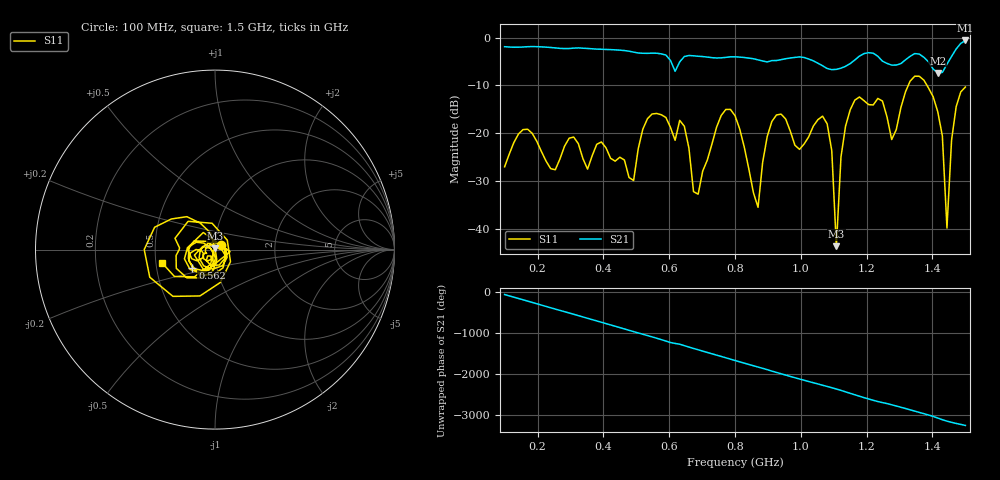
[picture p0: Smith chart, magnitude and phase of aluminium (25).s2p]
! NanoVNA-App
! Date: 2025-09-26 09:58:15
! Start: 100MHz Stop: 1,5GHz Points: 101
! S-Parameter data: F S11 S21 S12 S22
# Hz S RI R 50
!  Frequency  S11_Real  S11_Imag  S21_Real  S21_Imag  S12_Real  S12_Imag  S22_Real  S22_Imag
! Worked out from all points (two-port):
!   101 points, 100 MHz to 1.5 GHz, reference 50 ohm
!   highest |S21| = -0.61 dB at 1.5 GHz (marker M1); lowest = -7.4 dB at 1.416 GHz (marker M2)
!   |S21| within 3 dB of the highest: start of sweep to 587.5 MHz; 1.185 GHz to 1.227 GHz (42.31 MHz wide, 3.51 % of centre) (the widest 2 of 4)
!   lowest |S11| = -43.5 dB at 1.108 GHz (marker M3), VSWR 1.01, Z = 50.1 + j0.662 ohm
!   |S11| at or under -10 dB: start of sweep to 1.326 GHz; 1.383 GHz to end of sweep
!   S12 and S22 are empty: the file has one direction only
!   S11 on the Smith chart (normalised r, x): 100 MHz: 1.07, +0.06; 562 MHz: 0.76, -0.16; 1.5 GHz: 0.54, -0.09
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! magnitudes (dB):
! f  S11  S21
! 100 MHz  -27.0  -1.9
! 156 MHz  -19.2  -2.0
! 338 MHz  -25.3  -2.2
! 492 MHz  -29.8  -3.0
! 562 MHz  -15.8  -3.3
! 576 MHz  -16.1  -3.4
! 646 MHz  -18.5  -4.0
! 688 MHz  -32.7  -3.9
! 800 MHz  -16.3  -4.0
! 870 MHz  -35.4  -4.7
! 912 MHz  -17.5  -4.8
! 1.038 GHz  -18.5  -4.9
! 1.08 GHz  -18.0  -6.5
! 1.108 GHz  -43.5  -6.6
! 1.122 GHz  -24.9  -6.4
! 1.164 GHz  -13.1  -4.7
! 1.276 GHz  -21.3  -5.8
! 1.346 GHz  -8.1  -3.3
! 1.416 GHz  -15.5  -7.4
! 1.444 GHz  -39.8  -5.6
! 1.458 GHz  -21.4  -3.9
! 1.5 GHz  -10.3  -0.6
